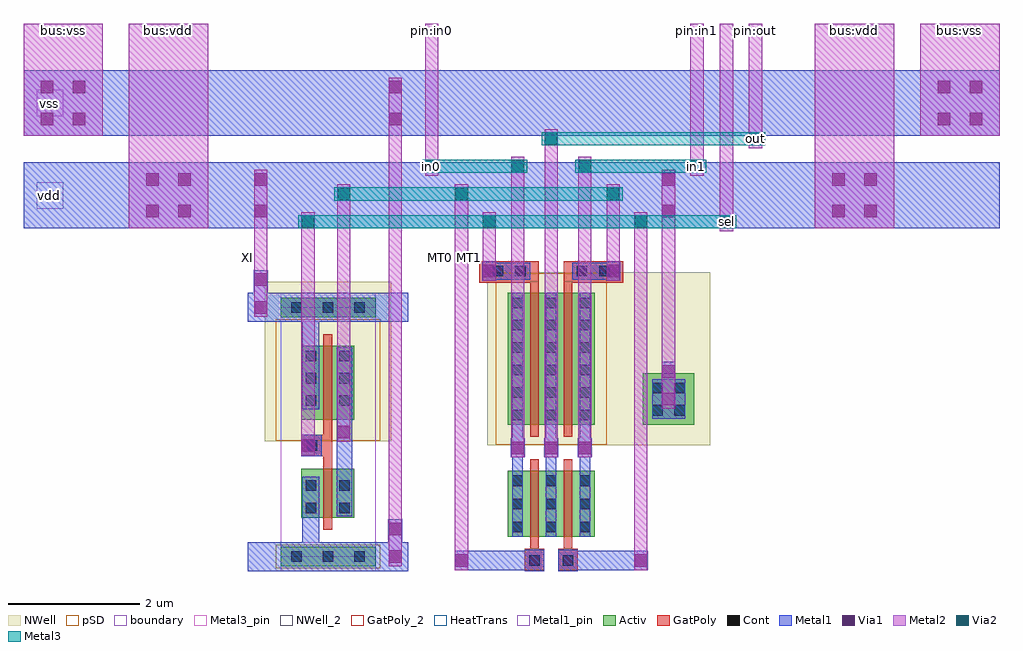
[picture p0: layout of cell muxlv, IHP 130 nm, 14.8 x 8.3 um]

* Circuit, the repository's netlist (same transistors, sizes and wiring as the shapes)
** sch_path: /foss/designs/Designs/bidir-level-shifter/xschem/logic_gates/MUXLV.sch
.subckt MUXLV in0 in1 sel out vdd vss
*.PININFO out:B in0:B in1:B sel:B vdd:B vss:B
MMT0N out net1 in0 vss sg13_lv_nmos w=1.0u l=0.13u ng=1
MMT0P out sel in0 vdd sg13_lv_pmos w=2.0u l=0.13u ng=1
MMT1N out sel in1 vss sg13_lv_nmos w=1.0u l=0.13u ng=1
MMT1P out net1 in1 vdd sg13_lv_pmos w=2.0u l=0.13u ng=1
XI net1 sel vdd vss sg13cmos5l_inv_1
.ends

* expanding   symbol:  logic_gates/sg13cmos5l_inv_1.sym # of pins=4
** sym_path: /foss/designs/Designs/bidir-level-shifter/xschem/logic_gates/sg13cmos5l_inv_1.sym
** sch_path: /foss/designs/Designs/bidir-level-shifter/xschem/logic_gates/sg13cmos5l_inv_1.sch
.subckt sg13cmos5l_inv_1 Y A VDD VSS
*.PININFO Y:B A:B VDD:B VSS:B
MMN0 Y A VSS VSS sg13_lv_nmos w=0.74u l=0.13u ng=1
MMP0 Y A VDD VDD sg13_lv_pmos w=1.12u l=0.13u ng=1
.ends

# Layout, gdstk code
import gdstk
lib = gdstk.Library(unit=1e-6, precision=1e-09)
def R(c, l, rs):  # rectangles x0, y0, x1, y1
    for r in rs: c.add(gdstk.rectangle(r[:2], r[2:], *l))
def A(c, l, x, y, w, h, nx, ny, dx, dy):  # array of equal rectangles
    R(c, l, [(x+i*dx, y+j*dy, x+i*dx+w, y+j*dy+h) for i in range(nx) for j in range(ny)])
def P(c, l, *ps):  # polygons
    for p in ps: c.add(gdstk.Polygon(p, *l))
Activ = (1, 0)
GatPoly = (5, 0)
GatPoly_2 = (5, 2)
Cont = (6, 0)
Metal1 = (8, 0)
Metal1_pin = (8, 2)
Metal2 = (10, 0)
pSD = (14, 0)
Via1 = (19, 0)
Via2 = (29, 0)
Metal3 = (30, 0)
Metal3_pin = (30, 2)
NWell = (31, 0)
NWell_2 = (31, 2)
HeatTrans = (51, 0)
boundary = (189, 4)

sg13cmos5l_inv_1 = lib.new_cell('sg13cmos5l_inv_1')
R(sg13cmos5l_inv_1, Activ, [(0,-0.15,1.44,0.15), (0.31,0.59,1.12,1.33), (0.31,2.075,1.12,3.195), (0,3.63,1.44,3.93)])
P(sg13cmos5l_inv_1, GatPoly, [(0.65,0.41),(0.65,1.52),(0.31,1.52),(0.31,1.85),(0.65,1.85),(0.65,3.375),(0.78,3.375),(0.78,0.41)])
A(sg13cmos5l_inv_1, Cont, 0.38, 2.285, 0.16, 0.16, 1, 3, 0, 0.34)
A(sg13cmos5l_inv_1, Cont, 0.89, 2.285, 0.16, 0.16, 1, 3, 0, 0.34)
R(sg13cmos5l_inv_1, Cont, [(0.16,-0.08,0.32,0.08), (0.16,-0.08,0.32,0.08), (0.64,-0.08,0.8,0.08), (0.64,-0.08,0.8,0.08), (1.12,-0.08,1.28,0.08), (1.12,-0.08,1.28,0.08), (0.38,0.66,0.54,0.82), (0.89,0.66,1.05,0.82), (0.38,1,0.54,1.16), (0.89,1,1.05,1.16), (0.395,1.605,0.555,1.765), (0.16,3.7,0.32,3.86), (0.16,3.7,0.32,3.86), (0.64,3.7,0.8,3.86), (0.64,3.7,0.8,3.86), (1.12,3.7,1.28,3.86), (1.12,3.7,1.28,3.86)])
R(sg13cmos5l_inv_1, Metal1, [(0.855,0.61,1.085,3.175), (0.31,1.52,0.625,1.85)])
P(sg13cmos5l_inv_1, Metal1, [(0,-0.22),(0,0.22),(0.33,0.22),(0.33,1.21),(0.59,1.21),(0.59,0.22),(1.44,0.22),(1.44,-0.22)],
  [(0.33,2.235),(0.33,3.56),(0,3.56),(0,4),(1.44,4),(1.44,3.56),(0.59,3.56),(0.59,2.235)])
R(sg13cmos5l_inv_1, Metal1_pin, [(0,-0.22,1.44,0.22), (0.855,0.61,1.085,3.175), (0.31,1.52,0.625,1.85), (0,3.56,1.44,4)])
R(sg13cmos5l_inv_1, pSD, [(-0.07,-0.18,1.51,0.18), (-0.07,1.76,1.51,3.6)])
R(sg13cmos5l_inv_1, NWell, [(-0.24,1.75,1.68,4.17)])
R(sg13cmos5l_inv_1, boundary, [(0,0,1.44,3.78)])
sg13cmos5l_inv_1.add(gdstk.Label('VDD', (0.705,3.78), layer=8, texttype=25))
sg13cmos5l_inv_1.add(gdstk.Label('VSS', (0.72,-0.02), layer=8, texttype=25))
sg13cmos5l_inv_1.add(gdstk.Label('A', (0.48,1.68), layer=8, texttype=25))
sg13cmos5l_inv_1.add(gdstk.Label('Y', (0.98,1.69), layer=8, texttype=25))

nmos = lib.new_cell('nmos')
A(nmos, Activ, 0, 0, 0.3, 0.3, 3, 1, 0.51, 0)
R(nmos, Activ, [(0,0,1.32,1)])
R(nmos, GatPoly, [(0.34,-0.18,0.47,1.18), (0.85,-0.18,0.98,1.18)])
R(nmos, GatPoly_2, [(0.34,-0.18,0.47,1.18)])
A(nmos, Cont, 0.07, 0.07, 0.16, 0.16, 3, 3, 0.51, 0.35)
A(nmos, Metal1, 0.07, 0, 0.16, 1, 3, 1, 0.51, 0)
R(nmos, Metal1_pin, [(0.07,0,0.23,1), (0.58,0,0.74,1)])
R(nmos, HeatTrans, [(0.34,-0.18,0.47,1.18), (0.85,-0.18,0.98,1.18)])
nmos.add(gdstk.Label('nmos', (0.405,0.5), layer=63, texttype=0))
nmos.add(gdstk.Label('nmos', (0.405,0.5), layer=51, texttype=0))
nmos.add(gdstk.Label('nmos', (0.915,0.5), layer=51, texttype=0))

pmos = lib.new_cell('pmos')
A(pmos, Activ, 0, 0, 0.3, 0.3, 3, 1, 0.51, 0)
R(pmos, Activ, [(0,0,1.32,2)])
R(pmos, GatPoly, [(0.34,-0.18,0.47,2.18), (0.34,-0.18,0.47,2.18), (0.85,-0.18,0.98,2.18)])
A(pmos, Cont, 0.07, 0.07, 0.16, 0.16, 3, 6, 0.51, 0.34)
R(pmos, Metal1, [(0.07,0,0.23,2), (0.07,0,0.23,2), (0.58,0,0.74,2), (0.58,0,0.74,2), (1.09,0,1.25,2)])
R(pmos, pSD, [(-0.18,-0.3,1.5,2.3)])
R(pmos, NWell, [(-0.31,-0.31,1.63,2.31)])
R(pmos, HeatTrans, [(0.34,-0.18,0.47,2.18), (0.85,-0.18,0.98,2.18)])
pmos.add(gdstk.Label('pmos', (0.405,1), layer=63, texttype=0))
pmos.add(gdstk.Label('pmos', (0.405,1), layer=51, texttype=0))
pmos.add(gdstk.Label('pmos', (0.915,1), layer=51, texttype=0))

ntap1 = lib.new_cell('ntap1')
R(ntap1, Activ, [(0,0,0.78,0.78)])
R(ntap1, Cont, [(0.14,0.14,0.3,0.3), (0.48,0.14,0.64,0.3), (0.14,0.48,0.3,0.64), (0.48,0.48,0.64,0.64)])
R(ntap1, Metal1, [(0.14,0.09,0.64,0.69)])
R(ntap1, Metal1_pin, [(0.14,0.09,0.64,0.69), (0.14,0.14,0.64,0.64)])
R(ntap1, NWell, [(-0.24,-0.24,1.02,1.02), (0,0,0.78,0.78)])
R(ntap1, NWell_2, [(0,0,0.78,0.78)])
ntap1.add(gdstk.Label('well', (0.39,0.01), layer=31, texttype=0))
ntap1.add(gdstk.Label('well', (0.39,0.01), layer=63, texttype=0))

muxlv = lib.new_cell('muxlv')
R(muxlv, GatPoly, [(4.2,0.01,4.5,0.34), (4.71,0.01,5.01,0.34), (3.515,4.37,4.415,4.7), (4.795,4.37,5.695,4.7)])
R(muxlv, Cont, [(4.27,0.08,4.43,0.24), (4.78,0.08,4.94,0.24), (3.715,4.47,3.875,4.63), (4.055,4.47,4.215,4.63), (4.995,4.47,5.155,4.63), (5.335,4.47,5.495,4.63)])
A(muxlv, Metal1, 4.015, 0.52, 0.16, 3.7, 3, 1, 0.51, 0)
A(muxlv, Metal1, 3.99, 1.725, 0.21, 0.29, 3, 1, 0.51, 0)
R(muxlv, Metal1, [(0,0,0.5,0.44), (1.94,0,2.44,0.44), (4.2,0,4.5,0.32), (4.71,0,5.01,0.32), (3.14,0.015,4.35,0.305), (3.14,0.015,3.35,0.305), (3.35,0.015,4.35,0.305), (4.86,0.015,6.07,0.305), (4.86,0.015,5.86,0.305), (5.86,0.015,6.07,0.305), (2.135,0.075,2.345,0.365), (2.135,0.075,2.345,0.785), (0.81,1.76,1.02,2.05), (1.355,1.965,1.565,2.255), (6.28,2.465,6.49,2.755), (6.28,2.465,6.49,3.175), (0,3.78,0.5,4.22), (1.94,3.78,2.44,4.22), (0.095,3.855,0.305,4.145), (0.095,3.855,0.305,4.565), (3.56,4.405,3.77,4.695), (5.44,4.405,5.65,4.695), (3.645,4.42,4.285,4.68), (4.925,4.42,5.565,4.68), (-3.4,5.2,11.405,6.2), (-3.4,6.6,11.405,7.6)])
R(muxlv, Metal1_pin, [(-3.2,5.5,-2.8,5.9), (-3.2,6.9,-2.8,7.3)])
R(muxlv, Metal2, [(3.145,0.015,3.345,5.865), (5.865,0.015,6.065,5.445), (2.14,0.075,2.34,7.485), (3.995,1.725,4.195,6.285), (4.505,1.725,4.705,6.705), (5.015,1.725,5.215,6.285), (0.815,1.76,1.015,5.445), (1.36,1.965,1.56,5.865), (6.285,2.465,6.485,6.085), (0.1,3.855,0.3,6.085), (3.565,4.405,3.765,5.445), (5.445,4.405,5.645,5.865), (7.165,5.155,7.365,8.3), (-1.8,5.2,-0.6,8.3), (8.605,5.2,9.805,8.3), (2.695,5.995,2.895,8.3), (6.715,5.995,6.915,8.3), (7.605,6.415,7.805,8.3), (-3.4,6.6,-2.2,8.3), (10.205,6.6,11.405,8.3)])
A(muxlv, Via1, 4, 1.775, 0.19, 0.19, 3, 1, 0.51, 0)
R(muxlv, Via1, [(3.15,0.065,3.34,0.255), (5.87,0.065,6.06,0.255), (2.145,0.125,2.335,0.315), (2.145,0.545,2.335,0.735), (0.82,1.81,1.01,2), (1.365,2.015,1.555,2.205), (6.29,2.515,6.48,2.705), (6.29,2.935,6.48,3.125), (0.105,3.905,0.295,4.095), (0.105,4.325,0.295,4.515), (3.57,4.455,3.76,4.645), (5.45,4.455,5.64,4.645), (-1.535,5.365,-1.345,5.555), (-1.055,5.365,-0.865,5.555), (0.105,5.365,0.295,5.555), (6.29,5.365,6.48,5.555), (8.87,5.365,9.06,5.555), (9.35,5.365,9.54,5.555), (-1.535,5.845,-1.345,6.035), (-1.055,5.845,-0.865,6.035), (0.105,5.845,0.295,6.035), (6.29,5.845,6.48,6.035), (8.87,5.845,9.06,6.035), (9.35,5.845,9.54,6.035), (-3.135,6.765,-2.945,6.955), (-2.655,6.765,-2.465,6.955), (2.145,6.765,2.335,6.955), (10.47,6.765,10.66,6.955), (10.95,6.765,11.14,6.955), (-3.135,7.245,-2.945,7.435), (-2.655,7.245,-2.465,7.435), (2.145,7.245,2.335,7.435), (10.47,7.245,10.66,7.435), (10.95,7.245,11.14,7.435)])
R(muxlv, Via2, [(0.82,5.205,1.01,5.395), (3.57,5.205,3.76,5.395), (5.87,5.205,6.06,5.395), (7.17,5.205,7.36,5.395), (1.365,5.625,1.555,5.815), (3.15,5.625,3.34,5.815), (5.45,5.625,5.64,5.815), (2.7,6.045,2.89,6.235), (4,6.045,4.19,6.235), (5.02,6.045,5.21,6.235), (6.72,6.045,6.91,6.235), (4.51,6.465,4.7,6.655), (7.61,6.465,7.8,6.655)])
R(muxlv, Metal3, [(0.77,5.2,7.41,5.4), (1.315,5.62,5.69,5.82), (2.65,6.04,4.24,6.24), (4.97,6.04,6.96,6.24), (4.46,6.46,7.85,6.66)])
R(muxlv, Metal3_pin, [(7.2,5.235,7.33,5.365), (2.73,6.075,2.86,6.205), (6.75,6.075,6.88,6.205), (7.64,6.495,7.77,6.625)])
R(muxlv, NWell, [(3.635,1.91,7.015,4.53)])
muxlv.add(gdstk.Reference(sg13cmos5l_inv_1, (0.5,0.22)))
muxlv.add(gdstk.Reference(nmos, (3.945,0.52)))
muxlv.add(gdstk.Reference(pmos, (3.945,2.22)))
muxlv.add(gdstk.Reference(ntap1, (5.995,2.22)))
muxlv.add(gdstk.Label('vdd', (-3,5.7), layer=8, texttype=25))
muxlv.add(gdstk.Label('vss', (-3,7.1), layer=8, texttype=25))
muxlv.add(gdstk.Label('in0', (2.795,6.14), layer=30, texttype=25))
muxlv.add(gdstk.Label('in1', (6.815,6.14), layer=30, texttype=25))
muxlv.add(gdstk.Label('sel', (7.265,5.3), layer=30, texttype=25))
muxlv.add(gdstk.Label('out', (7.705,6.56), layer=30, texttype=25))
muxlv.add(gdstk.Label('XI', (0,4.75), layer=63, texttype=0))
muxlv.add(gdstk.Label('MT0 MT1', (3.14,4.75), layer=63, texttype=0))
muxlv.add(gdstk.Label('pin:in0', (2.795,8.2), layer=63, texttype=0))
muxlv.add(gdstk.Label('pin:in1', (6.815,8.2), layer=63, texttype=0))
muxlv.add(gdstk.Label('pin:sel', (7.265,8.2), layer=63, texttype=0))
muxlv.add(gdstk.Label('pin:out', (7.705,8.2), layer=63, texttype=0))
muxlv.add(gdstk.Label('bus:vdd', (-1.2,8.2), layer=63, texttype=0))
muxlv.add(gdstk.Label('bus:vdd', (9.205,8.2), layer=63, texttype=0))
muxlv.add(gdstk.Label('bus:vss', (-2.8,8.2), layer=63, texttype=0))
muxlv.add(gdstk.Label('bus:vss', (10.805,8.2), layer=63, texttype=0))

lib.write_gds('muxlv.gds')
